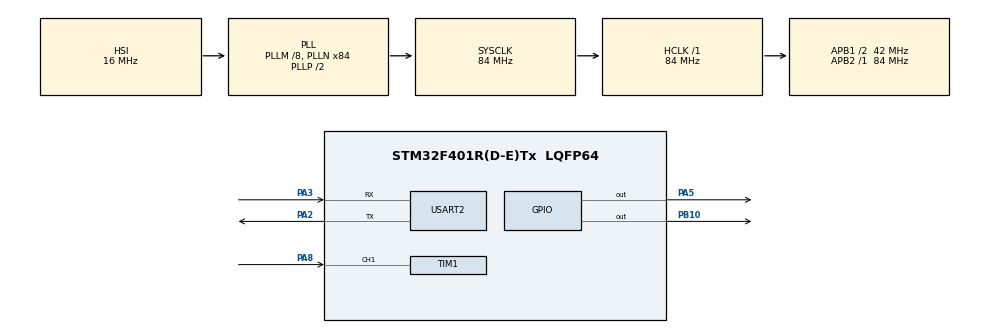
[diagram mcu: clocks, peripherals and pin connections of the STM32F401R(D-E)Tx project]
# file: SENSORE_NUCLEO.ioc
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Mcu.Family=STM32F4
Mcu.Name=STM32F401R(D-E)Tx
Mcu.Package=LQFP64
NVIC.PriorityGroup=NVIC_PRIORITYGROUP_4
NVIC.TIM1_CC_IRQn=true\:0\:0\:false\:false\:true\:true\:true\:true
PA13.Mode=Serial_Wire
PA13.Signal=SYS_JTMS-SWDIO
PA14.Mode=Serial_Wire
PA14.Signal=SYS_JTCK-SWCLK
PA2.Mode=Asynchronous
PA2.Signal=USART2_TX
PA3.Mode=Asynchronous
PA3.Signal=USART2_RX
PA5.Signal=GPIO_Output
PA8.Signal=S_TIM1_CH1
PB10.Signal=GPIO_Output
PH0\ -\ OSC_IN.Mode=HSE-External-Oscillator
PH0\ -\ OSC_IN.Signal=RCC_OSC_IN
PH1\ -\ OSC_OUT.Mode=HSE-External-Oscillator
PH1\ -\ OSC_OUT.Signal=RCC_OSC_OUT
ProjectManager.HeapSize=0x200
ProjectManager.StackSize=0x400
ProjectManager.TargetToolchain=STM32CubeIDE
RCC.48MHZClocksFreq_Value=42000000
RCC.AHBFreq_Value=84000000
RCC.APB1CLKDivider=RCC_HCLK_DIV2
RCC.APB1Freq_Value=42000000
RCC.APB1TimFreq_Value=84000000
RCC.APB2Freq_Value=84000000
RCC.APB2TimFreq_Value=84000000
RCC.CortexFreq_Value=84000000
RCC.HCLKFreq_Value=84000000
RCC.HSE_VALUE=25000000
RCC.HSI_VALUE=16000000
RCC.LSE_VALUE=32768
RCC.PLLM=8
RCC.PLLN=84
RCC.SYSCLKFreq_VALUE=84000000
RCC.SYSCLKSource=RCC_SYSCLKSOURCE_PLLCLK
RCC.VCOOutputFreq_Value=168000000
SH.S_TIM1_CH1.0=TIM1_CH1,Input_Capture1_from_TI1
TIM1.Channel-Input_Capture1_from_TI1=TIM_CHANNEL_1
TIM1.Prescaler=84-1
USART2.VirtualMode=VM_ASYNC
board=custom

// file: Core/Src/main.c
/* USER CODE BEGIN Header */
/**
  ******************************************************************************
  * @file           : main.c
  * @brief          : Main program body
  ******************************************************************************
  * @attention
  *
  * Copyright (c) 2023 STMicroelectronics.
  * All rights reserved.
  *
  * This software is licensed under terms that can be found in the LICENSE file
  * in the root directory of this software component.
  * If no LICENSE file comes with this software, it is provided AS-IS.
  *
  ******************************************************************************
  */
/* USER CODE END Header */
#include "main.h"

/* USER CODE BEGIN Includes */
#include "stm32f4xx.h"
#include "stdbool.h"
#include "string.h"
/* USER CODE END Includes */

TIM_HandleTypeDef htim1;

UART_HandleTypeDef huart2;

void SystemClock_Config(void);
static void MX_GPIO_Init(void);
static void MX_TIM1_Init(void);
static void MX_USART2_UART_Init(void);

/* USER CODE BEGIN 0 */

uint32_t IC_Val1 = 0;
uint32_t IC_Val2 = 0;
uint32_t Difference = 0;
bool Is_First_Captured = false;
uint8_t Distance = 0;

void HAL_TIM_IC_CaptureCallback(TIM_HandleTypeDef *htim){
	if(htim -> Channel == HAL_TIM_ACTIVE_CHANNEL_1){
		if(!Is_First_Captured){
			IC_Val1 = HAL_TIM_ReadCapturedValue(htim, TIM_CHANNEL_1);
			Is_First_Captured = true;
			__HAL_TIM_SET_CAPTUREPOLARITY(htim, TIM_CHANNEL_1, TIM_INPUTCHANNELPOLARITY_FALLING);
		}

		else if(Is_First_Captured){
			IC_Val2 = HAL_TIM_ReadCapturedValue(htim, TIM_CHANNEL_1);
			__HAL_TIM_SET_COUNTER(htim, 0);

			if(IC_Val2 > IC_Val1){
				Difference = IC_Val2 - IC_Val1;
			}
			else{
				Difference = (0xffff - IC_Val1) + IC_Val2;
			}

			Distance = Difference*.034/2;
			Is_First_Captured = false;

			__HAL_TIM_SET_CAPTUREPOLARITY(htim, TIM_CHANNEL_1, TIM_INPUTCHANNELPOLARITY_RISING);
			__HAL_TIM_DISABLE_IT(htim, TIM_IT_CC1);
		}
	}
}

void HCSR04_Read(TIM_HandleTypeDef *htim){
	HAL_GPIO_WritePin(GPIOB, GPIO_PIN_10, GPIO_PIN_SET); //alimento il segnale verso il trigger del sensore
	HAL_Delay(10);
	HAL_GPIO_WritePin(GPIOB, GPIO_PIN_10, GPIO_PIN_RESET);
	__HAL_TIM_ENABLE_IT(htim, TIM_IT_CC1);
}

/* USER CODE END 0 */

int main(void)
{

  /* MCU Configuration--------------------------------------------------------*/

  /* Reset of all peripherals, Initializes the Flash interface and the Systick. */
  HAL_Init();

  /* Configure the system clock */
  SystemClock_Config();

  /* Initialize all configured peripherals */
  MX_GPIO_Init();
  MX_TIM1_Init();
  MX_USART2_UART_Init();
  /* USER CODE BEGIN 2 */
  HAL_TIM_IC_Start_IT(&htim1, TIM_CHANNEL_1);
  HAL_UART_Transmit(&huart2, "OK!!", 5, 0xFFFF);

  /* USER CODE END 2 */

  /* Infinite loop */
  while (1)
    {

    /* USER CODE BEGIN 3 */
  	  HCSR04_Read(&htim1);
        HAL_Delay(500); // per non avere troppi valori a sul terminale
        char msg[100] = {'\0'};
        sprintf(&msg, "Distance: %dcm\r\n", Distance);
        HAL_UART_Transmit(&huart2, (uint8_t*)&msg, strlen(msg), 0xFFFF); // trasmetto il valore letto sulla seriale
        // Uso UART_Transmit perchè la USART è impostata in modalità asincrona

        /*****
         * Parametri:
         * Astrazione a livello software del device
         * Puntatore all'area dove sono memorizzati i dati da inviare
         * dimensione dei dati da inviare
         * Timeout da assegnare alla funzione es. HAL_MAX_DELAY
         */

        if(Distance < 20){
      	  HAL_GPIO_WritePin(GPIOA, GPIO_PIN_5, GPIO_PIN_SET);
        } else {
      	  HAL_GPIO_WritePin(GPIOA, GPIO_PIN_5, GPIO_PIN_RESET);
        }

    }
  /* USER CODE END 3 */
}

void SystemClock_Config(void)
{
  RCC_OscInitTypeDef RCC_OscInitStruct = {0};
  RCC_ClkInitTypeDef RCC_ClkInitStruct = {0};

  /** Configure the main internal regulator output voltage
  */
  __HAL_RCC_PWR_CLK_ENABLE();
  __HAL_PWR_VOLTAGESCALING_CONFIG(PWR_REGULATOR_VOLTAGE_SCALE2);

  /** Initializes the RCC Oscillators according to the specified parameters
  * in the RCC_OscInitTypeDef structure.
  */
  RCC_OscInitStruct.OscillatorType = RCC_OSCILLATORTYPE_HSI;
  RCC_OscInitStruct.HSIState = RCC_HSI_ON;
  RCC_OscInitStruct.HSICalibrationValue = RCC_HSICALIBRATION_DEFAULT;
  RCC_OscInitStruct.PLL.PLLState = RCC_PLL_ON;
  RCC_OscInitStruct.PLL.PLLSource = RCC_PLLSOURCE_HSI;
  RCC_OscInitStruct.PLL.PLLM = 8;
  RCC_OscInitStruct.PLL.PLLN = 84;
  RCC_OscInitStruct.PLL.PLLP = RCC_PLLP_DIV2;
  RCC_OscInitStruct.PLL.PLLQ = 4;
  if (HAL_RCC_OscConfig(&RCC_OscInitStruct) != HAL_OK)
  {
    Error_Handler();
  }

  /** Initializes the CPU, AHB and APB buses clocks
  */
  RCC_ClkInitStruct.ClockType = RCC_CLOCKTYPE_HCLK|RCC_CLOCKTYPE_SYSCLK
                              |RCC_CLOCKTYPE_PCLK1|RCC_CLOCKTYPE_PCLK2;
  RCC_ClkInitStruct.SYSCLKSource = RCC_SYSCLKSOURCE_PLLCLK;
  RCC_ClkInitStruct.AHBCLKDivider = RCC_SYSCLK_DIV1;
  RCC_ClkInitStruct.APB1CLKDivider = RCC_HCLK_DIV2;
  RCC_ClkInitStruct.APB2CLKDivider = RCC_HCLK_DIV1;

  if (HAL_RCC_ClockConfig(&RCC_ClkInitStruct, FLASH_LATENCY_2) != HAL_OK)
  {
    Error_Handler();
  }
}

static void MX_TIM1_Init(void)
{

  TIM_MasterConfigTypeDef sMasterConfig = {0};
  TIM_IC_InitTypeDef sConfigIC = {0};

  htim1.Instance = TIM1;
  htim1.Init.Prescaler = 84-1;
  htim1.Init.CounterMode = TIM_COUNTERMODE_UP;
  htim1.Init.Period = 65535;
  htim1.Init.ClockDivision = TIM_CLOCKDIVISION_DIV1;
  htim1.Init.RepetitionCounter = 0;
  htim1.Init.AutoReloadPreload = TIM_AUTORELOAD_PRELOAD_DISABLE;
  if (HAL_TIM_IC_Init(&htim1) != HAL_OK)
  {
    Error_Handler();
  }
  sMasterConfig.MasterOutputTrigger = TIM_TRGO_RESET;
  sMasterConfig.MasterSlaveMode = TIM_MASTERSLAVEMODE_DISABLE;
  if (HAL_TIMEx_MasterConfigSynchronization(&htim1, &sMasterConfig) != HAL_OK)
  {
    Error_Handler();
  }
  sConfigIC.ICPolarity = TIM_INPUTCHANNELPOLARITY_RISING;
  sConfigIC.ICSelection = TIM_ICSELECTION_DIRECTTI;
  sConfigIC.ICPrescaler = TIM_ICPSC_DIV1;
  sConfigIC.ICFilter = 0;
  if (HAL_TIM_IC_ConfigChannel(&htim1, &sConfigIC, TIM_CHANNEL_1) != HAL_OK)
  {
    Error_Handler();
  }

}

static void MX_USART2_UART_Init(void)
{

  huart2.Instance = USART2;
  huart2.Init.BaudRate = 115200;
  huart2.Init.WordLength = UART_WORDLENGTH_8B;
  huart2.Init.StopBits = UART_STOPBITS_1;
  huart2.Init.Parity = UART_PARITY_NONE;
  huart2.Init.Mode = UART_MODE_TX_RX;
  huart2.Init.HwFlowCtl = UART_HWCONTROL_NONE;
  huart2.Init.OverSampling = UART_OVERSAMPLING_16;
  if (HAL_UART_Init(&huart2) != HAL_OK)
  {
    Error_Handler();
  }

}

static void MX_GPIO_Init(void)
{
  GPIO_InitTypeDef GPIO_InitStruct = {0};

  /* GPIO Ports Clock Enable */
  __HAL_RCC_GPIOH_CLK_ENABLE();
  __HAL_RCC_GPIOA_CLK_ENABLE();
  __HAL_RCC_GPIOB_CLK_ENABLE();

  /*Configure GPIO pin Output Level */
  HAL_GPIO_WritePin(GPIOA, GPIO_PIN_5, GPIO_PIN_RESET);

  /*Configure GPIO pin Output Level */
  HAL_GPIO_WritePin(GPIOB, GPIO_PIN_10, GPIO_PIN_RESET);

  /*Configure GPIO pin : PA5 */
  GPIO_InitStruct.Pin = GPIO_PIN_5;
  GPIO_InitStruct.Mode = GPIO_MODE_OUTPUT_PP;
  GPIO_InitStruct.Pull = GPIO_NOPULL;
  GPIO_InitStruct.Speed = GPIO_SPEED_FREQ_LOW;
  HAL_GPIO_Init(GPIOA, &GPIO_InitStruct);

  /*Configure GPIO pin : PB10 */
  GPIO_InitStruct.Pin = GPIO_PIN_10;
  GPIO_InitStruct.Mode = GPIO_MODE_OUTPUT_PP;
  GPIO_InitStruct.Pull = GPIO_NOPULL;
  GPIO_InitStruct.Speed = GPIO_SPEED_FREQ_LOW;
  HAL_GPIO_Init(GPIOB, &GPIO_InitStruct);

}

void Error_Handler(void)
{
  __disable_irq();
  while (1)
  {
  }
}
